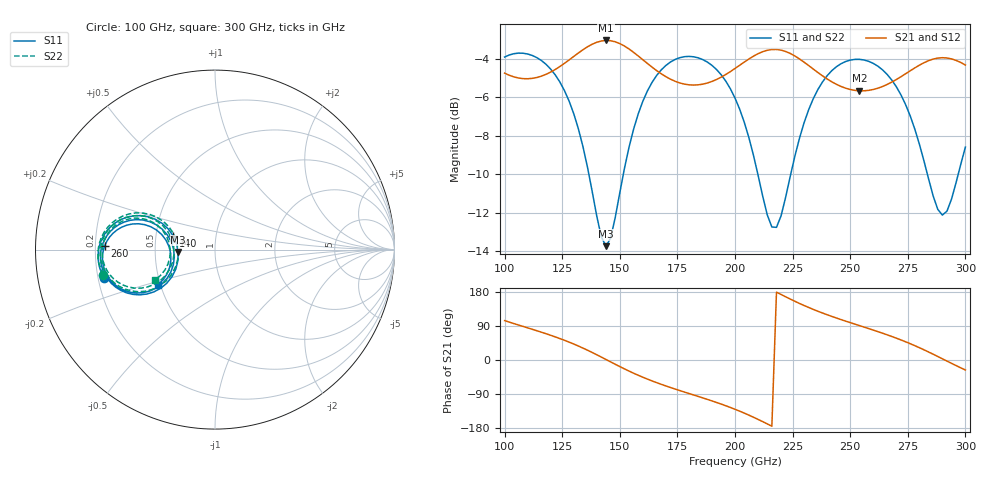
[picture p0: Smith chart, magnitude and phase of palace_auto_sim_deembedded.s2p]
! Created with skrf 1.11.0 (http://scikit-rf.org).
# GHz S DB R 50.0
!freq dBS11 angS11 dBS21 angS21 dBS12 angS12 dBS22 angS22
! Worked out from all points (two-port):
!   101 points, 100 GHz to 300 GHz, reference 50 ohm
!   highest |S21| = -3.04 dB at 144 GHz (marker M1); lowest = -5.7 dB at 254 GHz (marker M2)
!   |S21| within 3 dB of the highest: start of sweep to end of sweep
!   lowest |S11| = -13.7 dB at 144 GHz (marker M3), VSWR 1.52, Z = 33 - j0.936 ohm
!   |S11| at or under -10 dB: 136.6 GHz to 151.5 GHz (14.94 GHz wide, 10.4 % of centre); 209.9 GHz to 224.2 GHz (14.24 GHz wide, 6.56 % of centre); 283.5 GHz to 296.9 GHz (13.35 GHz wide, 4.6 % of centre)
!   |S22| runs from -13.8 to -3.7 dB; largest |S21 - S12| = 1.1e-13
!   S11 on the Smith chart (normalised r, x): 100 GHz: 0.22, -0.12; 140 GHz: 0.61, +0.10; 260 GHz: 0.24, +0.02; 300 GHz: 0.49, -0.22
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100  -3.91 -165.7  -4.74 104.0  -4.74 104.0  -3.91 -167.3
116  -4.09 172.7  -4.90 73.3  -4.90 73.3  -4.09 170.8
126  -5.65 159.7  -4.23 51.9  -4.23 51.9  -5.66 157.7
134  -8.55 153.1  -3.53 31.5  -3.53 31.5  -8.57 150.9
140  -12.17 161.6  -3.14 13.8  -3.14 13.8  -12.21 159.3
144  -13.73 -176.2  -3.04 1.4  -3.04 1.4  -13.79 -178.4
156  -7.65 -145.3  -3.66 -34.9  -3.66 -34.9  -7.66 -147.6
168  -4.57 -159.2  -4.78 -64.2  -4.78 -64.2  -4.58 -161.7
184  -3.94 -179.9  -5.35 -96.1  -5.35 -96.1  -3.95 177.4
200  -6.03 160.9  -4.50 -130.0  -4.50 -130.0  -6.04 157.9
208  -9.00 157.1  -3.86 -151.0  -3.86 -151.0  -9.01 154.0
214  -12.10 169.6  -3.55 -168.7  -3.55 -168.7  -12.10 166.4
218  -12.75 -169.8  -3.51 179.0  -3.51 179.0  -12.75 -173.1
226  -9.05 -147.1  -3.85 154.9  -3.85 154.9  -9.05 -150.5
234  -6.06 -150.9  -4.53 133.5  -4.53 133.5  -6.07 -154.5
244  -4.41 -162.7  -5.32 110.8  -5.32 110.8  -4.41 -166.4
254  -4.02 -174.9  -5.66 90.8  -5.66 90.8  -4.03 -178.8
260  -4.23 177.9  -5.59 78.9  -5.59 78.9  -4.23 174.0
268  -5.09 168.6  -5.21 62.2  -5.21 62.2  -5.09 164.6
280  -8.42 160.4  -4.33 32.5  -4.33 32.5  -8.40 156.3
290  -12.12 -174.8  -3.94 3.2  -3.94 3.2  -12.07 -179.3
300  -8.58 -148.4  -4.32 -26.4  -4.32 -26.4  -8.57 -153.2
